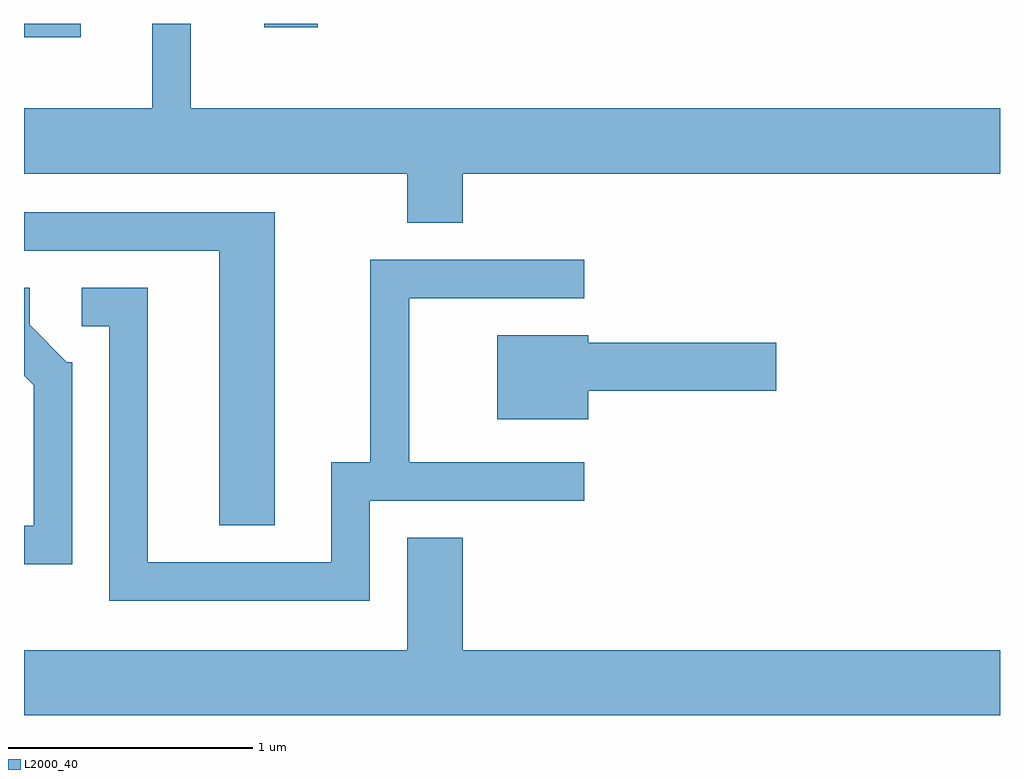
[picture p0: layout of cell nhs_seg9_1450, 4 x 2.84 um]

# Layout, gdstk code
import gdstk
lib = gdstk.Library(unit=1e-6, precision=1e-09)
def R(c, l, rs):  # rectangles x0, y0, x1, y1
    for r in rs: c.add(gdstk.rectangle(r[:2], r[2:], *l))
def P(c, l, *ps):  # polygons
    for p in ps: c.add(gdstk.Polygon(p, *l))
L2000_40 = (2000, 40)

nhs_seg9_1450 = lib.new_cell('nhs_seg9_1450')
R(nhs_seg9_1450, L2000_40, [(227.611,1992.376,227.844,1992.432), (228.596,1992.416,228.814,1992.432)])
P(nhs_seg9_1450, L2000_40, [(228.136,1992.432),(228.136,1992.084),(227.611,1992.084),(227.611,1991.816),(229.181,1991.816),(229.181,1991.616),(229.409,1991.616),(229.409,1991.816),(231.611,1991.816),(231.611,1992.084),(228.294,1992.084),(228.294,1992.432)],
  [(228.639,1991.659),(227.611,1991.659),(227.611,1991.501),(228.411,1991.501),(228.411,1990.376),(228.639,1990.376)],
  [(229.029,1990.476),(229.908,1990.476),(229.908,1990.634),(229.189,1990.634),(229.189,1991.306),(229.908,1991.306),(229.908,1991.464),(229.031,1991.464),(229.031,1990.634),(228.871,1990.634),(228.871,1990.224),(228.119,1990.224),(228.119,1991.349),(227.848,1991.349),(227.848,1991.191),(227.961,1991.191),(227.961,1990.066),(229.029,1990.066)],
  [(227.809,1991.044),(227.787,1991.044),(227.634,1991.197),(227.634,1991.349),(227.611,1991.349),(227.611,1990.989),(227.651,1990.949),(227.651,1990.374),(227.611,1990.374),(227.611,1990.216),(227.809,1990.216)],
  [(229.924,1990.926),(230.694,1990.926),(230.694,1991.124),(229.924,1991.124),(229.924,1991.154),(229.551,1991.154),(229.551,1990.811),(229.924,1990.811)],
  [(231.611,1989.864),(229.409,1989.864),(229.409,1990.324),(229.181,1990.324),(229.181,1989.864),(227.611,1989.864),(227.611,1989.596),(231.611,1989.596)])

lib.write_gds('nhs_seg9_1450.gds')
